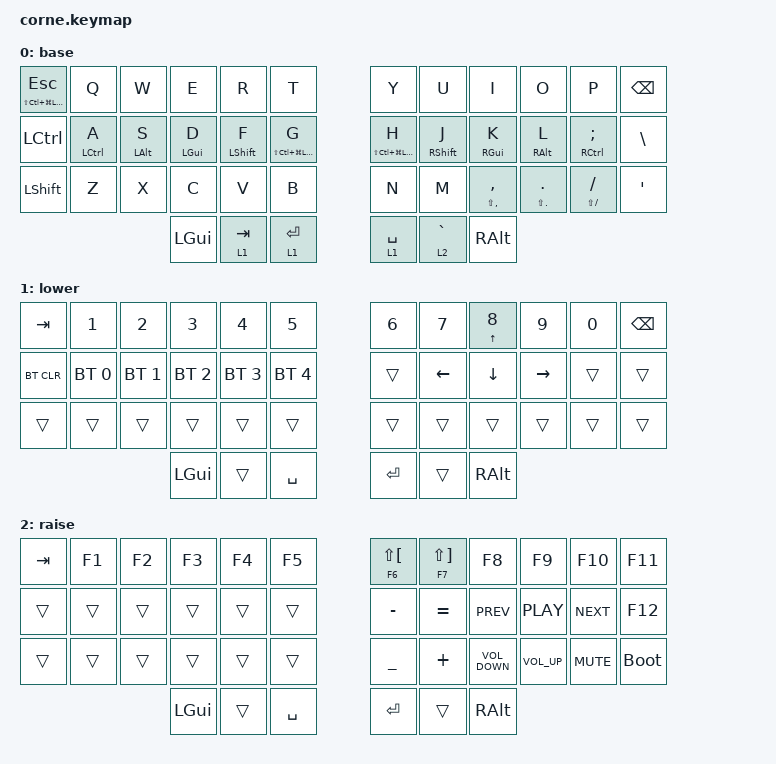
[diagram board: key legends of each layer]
/*
 * Copyright (c) 2020 The ZMK Contributors
 *
 * SPDX-License-Identifier: MIT
 */

#include <behaviors.dtsi>
#include <dt-bindings/zmk/bt.h>
#include <dt-bindings/zmk/keys.h>

/ {
    combos {
        compatible = "zmk,combos";

        minus {
            bindings = <&kp MINUS>;
            key-positions = <4 7>;
        };

        underscore {
            bindings = <&kp LS(MINUS)>;
            key-positions = <28 31>;
        };

        equals {
            bindings = <&kp EQUAL>;
            key-positions = <17 18>;
        };

        sleep {
            bindings = <&kp LA(LG(K_SLEEP))>;
            key-positions = <35 0>;
        };

        CapsWord {
            bindings = <&caps_word>;
            key-positions = <5 6>;
        };
    };

    behaviors {
        cpy_pst: cpy_pst {
            compatible = "zmk,behavior-tap-dance";
            label = "CPY_PST";
            #binding-cells = <0>;
            bindings = <&kp LG(C)>, <&kp LG(V)>;

            tapping-term-ms = <125>;
        };

        hml: hml {
            compatible = "zmk,behavior-hold-tap";
            label = "HML";
            bindings = <&kp>, <&kp>;

            #binding-cells = <2>;
            tapping-term-ms = <280>;
            quick-tap-ms = <150>;
            flavor = "balanced";
            hold-trigger-key-positions = <6 7 8 9 10 11 18 19 20 21 22 23 30 31 32 33 34 35 40 41 39 36 37 38>;
            hold-trigger-on-release;
        };

        hmr: hmr {
            compatible = "zmk,behavior-hold-tap";
            label = "HMR";
            bindings = <&kp>, <&kp>;

            #binding-cells = <2>;
            tapping-term-ms = <280>;
            quick-tap-ms = <175>;
            flavor = "balanced";
            hold-trigger-key-positions = <0 1 2 3 4 5 12 13 14 15 16 17 24 25 26 27 28 29 36 37 38 39 40 41>;
            hold-trigger-on-release;
        };
    };

    keymap {
        compatible = "zmk,keymap";

        base {
            // -----------------------------------------------------------------------------------------
            // |  TAB |  Q  |  W  |  E  |  R  |  T  |   |  Y  |  U   |  I  |  O  |  P  | BKSP |
            // | CTRL |  A  |  S  |  D  |  F  |  G  |   |  H  |  J   |  K  |  L  |  ;  |  '   |
            // | SHFT |  Z  |  X  |  C  |  V  |  B  |   |  N  |  M   |  ,  |  .  |  /  | ESC  |
            //                    | GUI | LWR | SPC |   | ENT | RSE  | ALT |

            bindings = <
&mt LS(LC(LG(LEFT_ALT))) ESCAPE  &kp Q         &kp W            &kp E            &kp R              &kp T                          &kp Y                        &kp U               &kp I                &kp O             &kp P                 &kp BSPC
&kp LCTRL                        &hml LCTRL A  &hml LEFT_ALT S  &hml LEFT_GUI D  &hml LEFT_SHIFT F  &hml LS(LC(LG(LEFT_ALT))) G    &hmr LS(LC(LG(LEFT_ALT))) H  &hmr RIGHT_SHIFT J  &hmr RIGHT_GUI K     &hmr RIGHT_ALT L  &hmr RCTRL SEMICOLON  &kp BACKSLASH
&kp LSHFT                        &kp Z         &kp X            &kp C            &kp V              &kp B                          &kp N                        &kp M               &mt LS(COMMA) COMMA  &mt LS(DOT) DOT   &mt LS(FSLH) SLASH    &kp SINGLE_QUOTE
                                                                &kp LEFT_GUI     &lt 1 TAB          &lt 1 ENTER                    &lt 1 SPACE                  &lt 2 GRAVE         &kp RALT
            >;
        };

        lower {
            // -----------------------------------------------------------------------------------------
            // |  TAB |  1  |  2  |  3  |  4  |  5  |   |  6  |  7  |  8  |  9  |  0  | BKSP |
            // | BTCLR| BT1 | BT2 | BT3 | BT4 | BT5 |   | LFT | DWN |  UP | RGT |     |      |
            // | SHFT |     |     |     |     |     |   |     |     |     |     |     |      |
            //                    | GUI |     | SPC |   | ENT |     | ALT |

            bindings = <
&kp TAB     &kp N1        &kp N2        &kp N3        &kp N4        &kp N5          &kp N6   &kp N7    &mt UP_ARROW NUMBER_8  &kp N9     &kp N0  &kp BSPC
&bt BT_CLR  &bt BT_SEL 0  &bt BT_SEL 1  &bt BT_SEL 2  &bt BT_SEL 3  &bt BT_SEL 4    &trans   &kp LEFT  &kp DOWN_ARROW         &kp RIGHT  &trans  &trans
&trans      &trans        &trans        &trans        &trans        &trans          &trans   &trans    &trans                 &trans     &trans  &trans
                                        &kp LGUI      &trans        &kp SPACE       &kp RET  &trans    &kp RALT
            >;
        };

        raise {
            // -----------------------------------------------------------------------------------------
            // |  TAB |  !  |  @  |  #  |  $  |  %  |   |  ^  |  &  |  *  |  (  |  )  | BKSP |
            // | CTRL |     |     |     |     |     |   |  -  |  =  |  [  |  ]  |  \  |  `   |
            // | SHFT |     |     |     |     |     |   |  _  |  +  |  {  |  }  | "|" |  ~   |
            //                    | GUI |     | SPC |   | ENT |     | ALT |

            bindings = <
&kp TAB  &kp F1  &kp F2  &kp F3    &kp F4  &kp F5       &mt F6 LS(LEFT_BRACKET)  &mt F7 LS(RIGHT_BRACKET)  &kp F8             &kp F9           &kp F10     &kp F11
&trans   &trans  &trans  &trans    &trans  &trans       &kp MINUS                &kp EQUAL                 &kp C_PREV         &kp C_PLAY       &kp C_NEXT  &kp F12
&trans   &trans  &trans  &trans    &trans  &trans       &kp UNDER                &kp PLUS                  &kp C_VOLUME_DOWN  &kp C_VOLUME_UP  &kp K_MUTE  &bootloader
                         &kp LGUI  &trans  &kp SPACE    &kp RET                  &trans                    &kp RALT
            >;
        };
    };
};
